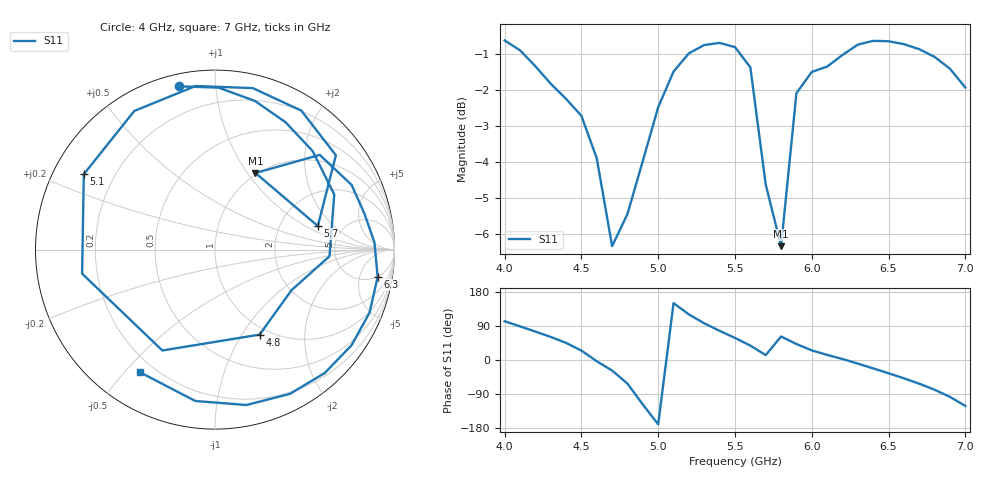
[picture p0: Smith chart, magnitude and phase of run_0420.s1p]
! Touchstone file exported from HFSS 2024.2.0
!  File:  C:/Users/wsak9/Desktop/Sim Fast/Widenad Patch/WP_AI_V1_sweep.aedt
!  Generated:  09:11:02 AM Oct 14, 2026
!  Design:  A1_model
!  Project:  WP_AI_V1_sweep
!  Setup:  Setup1
!  Solution:  Sweep
! Variables:
!  Air_gap = 1.65mm
!  Curve_Amp1 = 2.67
!  Curve_len1 = 1
!  Curve_pos = 10.095mm
!  Extra = 5.97mm
!  H_sub = 0.79mm
!  L_Patch = 16.19mm
!  L_Patch1 = 22.94mm
!  Sx = 4.12mm
!  Sy = 2.85mm
!  WS = 0.34mm
!  W_Patch = 17.88mm
!  W_Patch1 = 16.97mm
!Data is not renormalized
# GHz S MA
! Terminal data exported
! Port[1] = 1
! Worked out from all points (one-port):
!   31 points, 4 GHz to 7 GHz, reference per port
!   lowest |S11| = -6.3 dB at 5.8 GHz (marker M1), VSWR 2.87
!   |S11| at or under -10 dB: nowhere
!   S11 on the Smith chart (normalised r, x): 4 GHz: 0.06, +0.80; 4.8 GHz: 0.90, -1.20; 5.1 GHz: 0.09, +0.26; 5.7 GHz: 3.28, +1.32; 6.3 GHz: 5, -10; 7 GHz: 0.14, -0.55
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4  0.9312 102.3
4.1  0.9025 88.7
4.2  0.8577 75.0
4.4  0.7727 45.2
4.5  0.732 24.8
4.6  0.6389 -3.3
4.7  0.4826 -27.9
4.8  0.5349 -62.3
4.9  0.634 -117.6
5  0.7524 -169.7
5.1  0.843 150.1
5.2  0.8938 120.2
5.3  0.9177 96.8
5.4  0.924 76.8
5.5  0.9115 58.2
5.6  0.8544 38.0
5.7  0.5878 12.9
5.8  0.4826 62.1
5.9  0.7869 42.1
6  0.8422 25.4
6.2  0.8891 2.6
6.3  0.919 -9.6
6.4  0.93 -22.2
6.5  0.9288 -35.0
6.7  0.9055 -62.6
6.8  0.8835 -78.5
6.9  0.8506 -97.4
7  0.8009 -121.3
